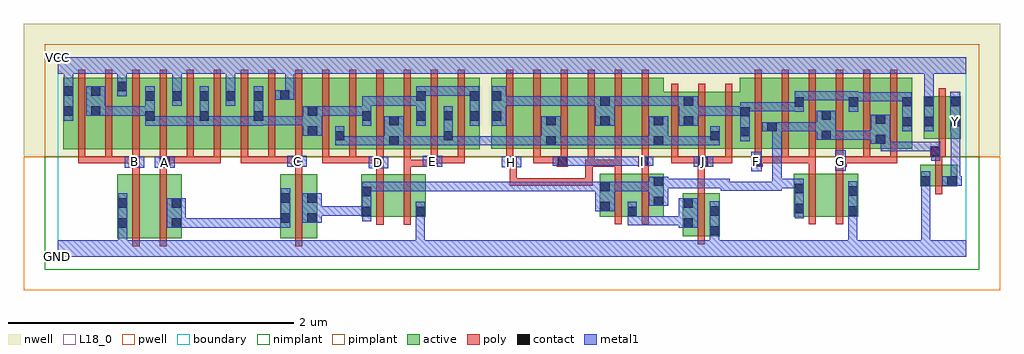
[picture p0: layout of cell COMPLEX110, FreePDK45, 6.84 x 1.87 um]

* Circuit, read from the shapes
.subckt COMPLEX110 A B C D E F G GND H I J VCC Y
M1 n1 B GND VSUBS nfet w=0.45u l=0.05u
M2 n2 A n1 VSUBS nfet w=0.45u l=0.05u
M3 n3 C n2 VSUBS nfet w=0.45u l=0.05u
M4 n4 D n3 VSUBS nfet w=0.3u l=0.05u
M5 GND E n4 VSUBS nfet w=0.3u l=0.05u
M6 n5 H n3 VSUBS nfet w=0.3u l=0.05u
M7 n3 I n5 VSUBS nfet w=0.3u l=0.05u
M8 GND J n5 VSUBS nfet w=0.3u l=0.05u
M9 n6 F n3 VSUBS nfet w=0.3u l=0.05u
M10 GND G n6 VSUBS nfet w=0.3u l=0.05u
M11 Y n3 GND VSUBS nfet w=0.15u l=0.05u
M12 n7 B VCC n8 pfet w=0.5u l=0.05u m=3
M13 VCC A n7 n8 pfet w=0.5u l=0.05u m=3
M14 n7 C VCC n8 pfet w=0.5u l=0.05u m=3
M15 n9 D n7 n8 pfet w=0.5u l=0.05u m=3
M16 n7 E n9 n8 pfet w=0.5u l=0.05u m=3
M17 n10 H n11 n8 pfet w=0.5u l=0.05u
M18 n9 I n10 n8 pfet w=0.5u l=0.05u
M19 n12 I n9 n8 pfet w=0.5u l=0.05u
M20 n11 H n12 n8 pfet w=0.5u l=0.05u
M21 n13 H n11 n8 pfet w=0.5u l=0.05u
M22 n9 I n13 n8 pfet w=0.5u l=0.05u
M23 n11 J n9 n8 pfet w=0.4u l=0.05u m=3
M24 n3 F n11 n8 pfet w=0.5u l=0.05u m=3
M25 n11 G n3 n8 pfet w=0.5u l=0.05u m=3
M26 Y n3 VCC n8 pfet w=0.3u l=0.05u
.ends

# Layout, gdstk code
import gdstk
lib = gdstk.Library(unit=1e-6, precision=1e-09)
def R(c, l, rs):  # rectangles x0, y0, x1, y1
    for r in rs: c.add(gdstk.rectangle(r[:2], r[2:], *l))
def A(c, l, x, y, w, h, nx, ny, dx, dy):  # array of equal rectangles
    R(c, l, [(x+i*dx, y+j*dy, x+i*dx+w, y+j*dy+h) for i in range(nx) for j in range(ny)])
active = (1, 0)
pwell = (2, 0)
nwell = (3, 0)
nimplant = (4, 0)
pimplant = (5, 0)
poly = (9, 0)
contact = (10, 0)
metal1 = (11, 0)
L18_0 = (18, 0)
boundary = (235, 0)

complex110 = lib.new_cell('COMPLEX110')
A(complex110, active, 0.61, 0.755, 0.075, 0.445, 6, 1, 0.38, 0)
A(complex110, active, 1.75, 0.755, 0.265, 0.5, 5, 1, 0.19, 0)
A(complex110, active, 1.94, 0.755, 0.075, 0.315, 3, 1, 0.38, 0)
A(complex110, active, 3.04, 0.757, 0.225, 0.5, 3, 1, 0.38, 0)
A(complex110, active, 4.78, 0.757, 0.075, 0.443, 3, 1, 0.38, 0)
A(complex110, active, 4.78, 0.757, 0.265, 0.5, 5, 1, 0.19, 0)
A(complex110, active, 4.97, 0.757, 0.075, 0.313, 3, 1, 0.38, 0)
R(complex110, active, [(0.42,0.13,0.645,0.58), (0.42,0.13,0.495,0.58), (0.645,0.13,0.87,0.58), (1.56,0.13,1.82,0.58), (4.382,0.145,4.642,0.445), (4.567,0.145,4.642,0.445), (0.795,0.195,0.87,0.58), (1.56,0.195,1.635,0.58), (1.745,0.195,1.82,0.58), (4.382,0.2,4.457,0.445), (2.13,0.28,2.205,0.58), (2.13,0.28,2.355,0.58), (2.355,0.28,2.58,0.58), (2.505,0.28,2.58,0.58), (3.8,0.282,3.875,0.582), (3.8,0.282,4.065,0.582), (3.99,0.282,4.25,0.582), (3.99,0.282,4.065,0.392), (5.16,0.282,5.235,0.582), (5.16,0.282,5.385,0.582), (5.385,0.282,5.61,0.582), (5.535,0.282,5.61,0.582), (4.175,0.33,4.25,0.582), (6.047,0.495,6.122,0.645), (6.047,0.495,6.307,0.645), (6.232,0.495,6.307,0.645), (0.04,0.755,0.305,1.255), (0.04,0.755,0.115,1.255), (0.23,0.755,0.49,1.255), (0.415,0.755,0.685,1.255), (0.61,0.755,0.875,1.255), (0.8,0.755,1.065,1.255), (0.99,0.755,1.25,1.255), (1.175,0.755,1.445,1.255), (1.175,0.755,1.25,1.255), (1.37,0.755,1.63,1.255), (1.555,0.755,1.825,1.255), (2.7,0.755,2.96,1.255), (2.885,0.755,2.96,1.2), (3.04,0.757,3.145,1.2), (3.265,0.757,3.495,1.257), (3.42,0.757,3.495,1.07), (3.645,0.757,3.875,1.257), (3.8,0.757,3.875,1.2), (4.025,0.757,4.25,1.257), (4.175,0.757,4.25,1.07), (4.175,0.757,4.46,1.157), (4.385,0.757,4.645,1.157), (4.385,0.757,4.46,1.155), (4.57,0.757,4.645,1.07), (4.57,0.757,4.855,1.157), (5.73,0.757,5.99,1.257), (5.915,0.757,5.99,1.2), (0.23,0.807,0.305,1.2), (0.415,0.807,0.49,1.255), (0.8,0.807,0.875,1.255), (1.555,0.807,1.63,1.255), (6.07,0.827,6.145,1.127), (6.07,0.827,6.33,1.127), (6.255,0.827,6.33,1.127)])
R(complex110, pwell, [(-0.235,-0.235,6.605,0.7)])
R(complex110, nwell, [(-0.235,0.7,6.605,1.635)])
R(complex110, nimplant, [(-0.09,-0.09,6.46,0.7)])
R(complex110, pimplant, [(-0.09,0.7,6.46,1.49)])
A(complex110, poly, 0.145, 0.655, 0.05, 0.095, 12, 1, 0.19, 0)
A(complex110, poly, 1.095, 0.655, 0.05, 0.05, 3, 1, 0.19, 0)
A(complex110, poly, 4.3, 0.657, 0.05, 0.095, 3, 1, 0.19, 0)
A(complex110, poly, 4.885, 0.657, 0.05, 0.095, 6, 1, 0.19, 0)
A(complex110, poly, 0.145, 0.7, 0.05, 0.61, 15, 1, 0.19, 0)
A(complex110, poly, 3.145, 0.702, 0.05, 0.61, 6, 1, 0.19, 0)
A(complex110, poly, 4.3, 0.702, 0.05, 0.51, 3, 1, 0.19, 0)
A(complex110, poly, 4.885, 0.702, 0.05, 0.61, 6, 1, 0.19, 0)
R(complex110, poly, [(0.525,0.075,0.575,0.635), (0.715,0.075,0.765,0.635), (1.665,0.075,1.715,0.635), (4.487,0.09,4.537,0.5), (2.235,0.225,2.285,0.635), (2.425,0.225,2.475,0.635), (3.905,0.227,3.955,0.637), (4.095,0.227,4.145,0.637), (5.265,0.227,5.315,0.637), (5.455,0.227,5.505,0.637), (6.152,0.44,6.202,0.7), (4.487,0.45,4.537,0.682), (3.17,0.5,3.22,0.55), (3.17,0.5,3.22,0.55), (3.17,0.5,3.22,0.55), (3.17,0.5,3.22,0.55), (3.17,0.5,3.22,0.55), (3.17,0.5,3.417,0.55), (3.17,0.5,3.22,0.672), (3.367,0.5,3.417,0.55), (3.367,0.5,3.417,0.55), (3.367,0.5,3.417,0.55), (3.367,0.5,3.617,0.55), (3.567,0.5,3.617,0.55), (3.567,0.5,3.75,0.55), (3.7,0.5,3.75,0.55), (3.7,0.5,3.75,0.55), (3.7,0.5,3.75,0.55), (3.7,0.5,3.75,0.55), (3.7,0.5,3.75,0.55), (3.7,0.5,3.75,0.682), (0.525,0.585,0.575,0.68), (0.715,0.585,0.765,0.68), (1.665,0.585,1.715,0.68), (2.235,0.585,2.285,0.68), (2.425,0.585,2.475,0.68), (3.905,0.587,3.955,0.682), (4.095,0.587,4.145,0.682), (5.265,0.587,5.315,0.707), (5.455,0.587,5.505,0.682), (3.145,0.622,3.22,0.697), (0.5,0.63,0.575,0.705), (0.715,0.63,0.79,0.705), (1.64,0.63,1.715,0.705), (2.21,0.63,2.285,0.705), (2.425,0.63,2.475,0.68), (2.425,0.63,2.475,0.68), (2.425,0.63,2.475,0.68), (2.425,0.63,2.64,0.68), (2.425,0.63,2.475,0.75), (2.59,0.63,2.665,0.705), (3.5,0.632,3.575,0.707), (3.7,0.632,3.765,0.682), (3.715,0.632,3.955,0.682), (3.715,0.632,3.765,0.752), (3.905,0.632,3.955,0.682), (3.905,0.632,3.955,0.682), (3.905,0.632,3.955,0.682), (3.905,0.632,3.955,0.752), (4.07,0.632,4.145,0.707), (4.487,0.632,4.562,0.707), (4.867,0.632,4.942,0.707), (5.455,0.632,5.53,0.707), (3.145,0.647,3.195,0.752), (6.152,0.65,6.202,0.752), (0.145,0.655,0.195,0.705), (0.145,0.655,0.385,0.705), (0.335,0.655,0.385,0.705), (0.335,0.655,0.385,0.705), (0.335,0.655,0.385,0.705), (0.335,0.655,0.55,0.705), (0.5,0.655,0.55,0.705), (0.5,0.655,0.55,0.705), (0.74,0.655,0.79,0.705), (0.74,0.655,0.79,0.705), (0.74,0.655,0.955,0.705), (0.905,0.655,0.955,0.705), (0.905,0.655,1.145,0.705), (1.095,0.655,1.145,0.705), (1.095,0.655,1.145,0.705), (1.285,0.655,1.525,0.705), (1.475,0.655,1.525,0.705), (1.475,0.655,1.525,0.705), (1.475,0.655,1.69,0.705), (1.64,0.655,1.69,0.705), (1.64,0.655,1.69,0.705), (1.855,0.655,1.905,0.705), (1.855,0.655,1.905,0.705), (1.855,0.655,1.905,0.705), (1.855,0.655,2.095,0.705), (2.045,0.655,2.095,0.705), (2.045,0.655,2.095,0.705), (2.045,0.655,2.095,0.705), (2.045,0.655,2.26,0.705), (2.615,0.655,2.665,0.75), (2.615,0.655,2.855,0.705), (2.805,0.655,2.855,0.75), (2.805,0.655,2.855,0.705), (2.805,0.655,2.855,0.705), (2.805,0.655,2.855,0.705), (3.335,0.657,3.385,0.752), (3.335,0.657,3.385,0.707), (3.335,0.657,3.385,0.707), (3.335,0.657,3.385,0.707), (3.335,0.657,3.55,0.707), (3.525,0.657,3.575,0.752), (4.095,0.657,4.145,0.752), (4.3,0.657,4.35,0.707), (4.3,0.657,4.35,0.707), (4.3,0.657,4.35,0.707), (4.3,0.657,4.537,0.707), (4.512,0.657,4.73,0.707), (4.68,0.657,4.73,0.707), (4.68,0.657,4.73,0.707), (4.68,0.657,4.73,0.707), (4.892,0.657,5.125,0.707), (5.075,0.657,5.125,0.707), (5.075,0.657,5.125,0.707), (5.075,0.657,5.125,0.707), (5.075,0.657,5.315,0.707), (5.265,0.657,5.315,0.707), (5.265,0.657,5.315,0.707), (5.265,0.657,5.315,0.707), (5.48,0.657,5.53,0.707), (5.48,0.657,5.53,0.707), (5.48,0.657,5.695,0.707), (5.645,0.657,5.695,0.707), (5.645,0.657,5.885,0.707), (5.835,0.657,5.885,0.707), (5.835,0.657,5.885,0.707), (5.835,0.657,5.885,0.707), (6.117,0.702,6.225,0.777), (6.175,0.727,6.225,0.822), (6.175,0.772,6.225,1.182)])
A(complex110, contact, 0.615, 0.955, 0.065, 0.065, 3, 1, 0.38, 0)
A(complex110, contact, 0.615, 1.095, 0.065, 0.065, 3, 1, 0.19, 0)
R(complex110, contact, [(4.572,0.15,4.637,0.215), (0.425,0.205,0.49,0.27), (0.8,0.205,0.865,0.27), (4.387,0.205,4.452,0.27), (1.565,0.24,1.63,0.305), (1.75,0.24,1.815,0.305), (2.135,0.285,2.2,0.35), (2.51,0.285,2.575,0.35), (3.995,0.287,4.06,0.352), (4.572,0.29,4.637,0.355), (5.54,0.29,5.605,0.355), (5.165,0.307,5.23,0.372), (3.805,0.32,3.87,0.385), (0.425,0.345,0.49,0.41), (0.8,0.345,0.865,0.41), (4.387,0.345,4.452,0.41), (4.18,0.357,4.245,0.422), (1.565,0.38,1.63,0.445), (1.75,0.38,1.815,0.445), (2.135,0.425,2.2,0.49), (5.54,0.43,5.605,0.495), (5.165,0.447,5.23,0.512), (3.805,0.46,3.87,0.525), (4.18,0.497,4.245,0.562), (6.052,0.5,6.117,0.565), (6.237,0.5,6.302,0.565), (3.15,0.627,3.215,0.692), (0.505,0.635,0.57,0.7), (0.72,0.635,0.785,0.7), (1.645,0.635,1.71,0.7), (2.215,0.635,2.28,0.7), (2.595,0.635,2.66,0.7), (3.505,0.637,3.57,0.702), (4.075,0.637,4.14,0.702), (4.492,0.637,4.557,0.702), (4.872,0.637,4.937,0.702), (5.46,0.637,5.525,0.702), (6.122,0.707,6.187,0.772), (2.325,0.782,2.39,0.847), (3.425,0.782,3.49,0.847), (4.18,0.782,4.245,0.847), (5.735,0.792,5.8,0.857), (1.945,0.817,2.01,0.882), (2.705,0.817,2.77,0.882), (4.575,0.817,4.64,0.882), (5.355,0.82,5.42,0.885), (4.785,0.845,4.85,0.91), (1.755,0.85,1.82,0.915), (4.975,0.88,5.04,0.945), (5.92,0.915,5.985,0.98), (6.075,0.917,6.14,0.982), (6.26,0.917,6.325,0.982), (3.805,0.92,3.87,0.985), (4.39,0.92,4.455,0.985), (2.325,0.922,2.39,0.987), (3.425,0.922,3.49,0.987), (4.18,0.922,4.245,0.987), (5.735,0.932,5.8,0.997), (2.135,0.955,2.2,1.02), (2.515,0.955,2.58,1.02), (2.89,0.955,2.955,1.02), (3.045,0.955,3.11,1.02), (2.705,0.957,2.77,1.022), (5.355,0.96,5.42,1.025), (4.785,0.985,4.85,1.05), (0.045,0.99,0.11,1.055), (0.235,0.99,0.3,1.055), (1.755,0.99,1.82,1.055), (5.165,1.052,5.23,1.117), (5.545,1.052,5.61,1.117), (5.92,1.055,5.985,1.12), (6.075,1.057,6.14,1.122), (6.26,1.057,6.325,1.122), (3.805,1.06,3.87,1.125), (4.39,1.06,4.455,1.125), (1.18,1.095,1.245,1.16), (1.375,1.095,1.44,1.16), (2.515,1.095,2.58,1.16), (2.89,1.095,2.955,1.16), (3.045,1.095,3.11,1.16), (1.56,1.102,1.625,1.167), (0.045,1.13,0.11,1.195), (0.235,1.13,0.3,1.195), (0.42,1.162,0.485,1.227)])
A(complex110, metal1, 0.615, 0.92, 0.065, 0.275, 3, 1, 0.38, 0)
R(complex110, metal1, [(0,0,6.37,0.115), (0.425,0.05,0.49,0.115), (0.425,0.05,0.49,0.115), (0.425,0.05,0.49,0.235), (2.51,0.05,2.575,0.115), (2.51,0.05,2.575,0.115), (2.51,0.05,2.575,0.115), (2.51,0.05,2.575,0.115), (2.51,0.05,2.575,0.315), (4.572,0.05,4.637,0.115), (4.572,0.05,4.637,0.115), (4.572,0.05,4.637,0.115), (4.572,0.05,4.637,0.115), (4.572,0.05,4.637,0.115), (4.572,0.05,4.637,0.39), (5.54,0.05,5.605,0.115), (5.54,0.05,5.605,0.115), (5.54,0.05,5.605,0.115), (5.54,0.05,5.605,0.115), (5.54,0.05,5.605,0.32), (6.052,0.05,6.117,0.115), (6.052,0.05,6.117,0.115), (6.052,0.05,6.117,0.115), (6.052,0.05,6.117,0.115), (6.052,0.05,6.117,0.53), (0.425,0.17,0.49,0.445), (0.765,0.205,0.9,0.41), (0.835,0.205,0.9,0.27), (0.835,0.205,0.9,0.27), (0.835,0.205,1.037,0.27), (0.972,0.205,1.037,0.27), (0.972,0.205,1.037,0.27), (0.972,0.205,1.037,0.27), (0.972,0.205,1.197,0.27), (1.132,0.205,1.197,0.27), (1.132,0.205,1.197,0.27), (1.132,0.205,1.197,0.27), (1.132,0.205,1.335,0.27), (1.27,0.205,1.335,0.27), (1.27,0.205,1.335,0.27), (1.27,0.205,1.335,0.27), (1.27,0.205,1.63,0.27), (1.565,0.205,1.63,0.48), (4.352,0.205,4.487,0.41), (3.995,0.22,4.21,0.285), (3.995,0.22,4.06,0.387), (4.145,0.22,4.21,0.285), (4.145,0.22,4.21,0.285), (4.145,0.22,4.21,0.285), (4.145,0.22,4.347,0.285), (4.282,0.22,4.347,0.285), (4.282,0.22,4.417,0.285), (1.715,0.24,1.85,0.445), (2.135,0.25,2.2,0.525), (2.51,0.25,2.575,0.385), (5.54,0.255,5.605,0.53), (5.165,0.272,5.23,0.547), (1.785,0.29,1.85,0.355), (1.785,0.29,1.85,0.355), (1.785,0.29,1.992,0.355), (1.927,0.29,1.992,0.355), (1.927,0.29,1.992,0.355), (1.927,0.29,1.992,0.355), (1.927,0.29,2.2,0.355), (3.77,0.32,3.905,0.525), (4.145,0.357,4.28,0.562), (2.135,0.46,2.2,0.525), (2.135,0.46,2.2,0.525), (2.135,0.46,2.437,0.525), (2.372,0.46,2.437,0.525), (2.372,0.46,2.437,0.525), (2.372,0.46,2.437,0.525), (2.372,0.46,2.58,0.525), (2.515,0.46,2.58,0.525), (2.515,0.46,2.58,0.525), (2.515,0.46,2.58,0.525), (2.515,0.46,2.77,0.525), (2.705,0.46,2.77,0.525), (2.705,0.46,2.907,0.525), (2.842,0.46,2.907,0.525), (2.842,0.46,2.907,0.525), (2.842,0.46,2.907,0.525), (2.842,0.46,3.145,0.525), (3.08,0.46,3.145,0.525), (3.08,0.46,3.145,0.525), (3.08,0.46,3.145,0.525), (3.08,0.46,3.282,0.525), (3.217,0.46,3.282,0.525), (3.217,0.46,3.282,0.525), (3.217,0.46,3.282,0.525), (3.217,0.46,3.42,0.525), (3.355,0.46,3.42,0.525), (3.355,0.46,3.42,0.525), (3.355,0.46,3.42,0.525), (3.355,0.46,3.697,0.525), (3.632,0.46,3.697,0.525), (3.632,0.46,3.742,0.525), (3.677,0.46,3.742,0.525), (3.677,0.46,3.835,0.525), (3.84,0.46,3.905,0.525), (3.84,0.46,3.905,0.525), (3.84,0.46,4.072,0.525), (4.007,0.46,4.072,0.525), (4.007,0.46,4.21,0.525), (4.145,0.46,4.21,0.525), (4.145,0.46,4.21,0.525), (4.647,0.462,4.867,0.527), (4.647,0.462,4.712,0.547), (4.802,0.462,4.867,0.527), (4.802,0.462,4.867,0.527), (4.802,0.462,4.867,0.527), (4.802,0.462,5.075,0.527), (5.01,0.462,5.075,0.547), (6.052,0.465,6.117,0.53), (6.052,0.465,6.117,0.53), (6.052,0.465,6.117,0.6), (4.215,0.482,4.347,0.547), (4.282,0.482,4.347,0.547), (4.282,0.482,4.5,0.547), (4.435,0.482,4.5,0.547), (4.435,0.482,4.5,0.547), (4.435,0.482,4.5,0.547), (4.435,0.482,4.712,0.547), (4.647,0.482,4.712,0.547), (4.647,0.482,4.712,0.547), (5.01,0.482,5.075,0.547), (5.01,0.482,5.075,0.547), (5.01,0.482,5.075,0.547), (5.01,0.482,5.075,0.547), (5.01,0.482,5.075,0.547), (5.01,0.482,5.075,0.547), (5.01,0.482,5.23,0.547), (5.01,0.482,5.075,0.945), (6.202,0.5,6.337,0.565), (6.26,0.5,6.325,0.947), (6.26,0.5,6.337,0.565), (6.272,0.5,6.337,0.565), (6.272,0.5,6.337,0.565), (6.272,0.5,6.337,0.565), (4.86,0.6,4.937,0.737), (5.452,0.602,5.525,0.747), (2.18,0.622,2.317,0.7), (0.47,0.625,0.607,0.702), (0.682,0.625,0.82,0.702), (3.112,0.627,3.25,0.705), (1.61,0.632,1.747,0.71), (2.56,0.632,2.697,0.71), (4.457,0.632,4.597,0.707), (3.47,0.637,3.605,0.702), (3.54,0.637,3.697,0.702), (3.632,0.637,3.697,0.702), (3.632,0.637,3.742,0.702), (3.677,0.637,3.742,0.702), (3.677,0.637,3.88,0.702), (3.815,0.637,3.88,0.702), (3.815,0.637,3.88,0.702), (3.815,0.637,3.88,0.702), (3.815,0.637,4.072,0.702), (4.007,0.637,4.072,0.702), (4.007,0.637,4.097,0.702), (4.032,0.637,4.175,0.702), (6.122,0.672,6.187,0.807), (5.77,0.742,6.05,0.807), (5.77,0.742,5.835,0.857), (5.985,0.742,6.05,0.807), (5.985,0.742,6.05,0.807), (5.985,0.742,6.05,0.807), (5.985,0.742,6.05,0.807), (5.985,0.742,6.05,0.807), (5.985,0.742,6.05,0.807), (5.985,0.742,6.05,0.807), (5.985,0.742,6.187,0.807), (1.945,0.782,2.01,0.847), (1.945,0.782,2.01,0.847), (1.945,0.782,2.01,0.917), (1.945,0.782,2.2,0.847), (2.135,0.782,2.2,0.847), (2.135,0.782,2.2,0.847), (2.135,0.782,2.2,0.847), (2.135,0.782,2.355,0.847), (2.29,0.782,2.425,0.987), (2.36,0.782,2.425,0.847), (2.36,0.782,2.425,0.847), (2.36,0.782,2.58,0.847), (2.515,0.782,2.58,0.847), (2.515,0.782,2.58,0.847), (2.515,0.782,2.58,0.847), (2.515,0.782,2.77,0.847), (2.705,0.782,2.77,0.847), (2.705,0.782,2.77,0.847), (2.705,0.782,2.907,0.847), (2.705,0.782,2.77,1.057), (2.842,0.782,2.907,0.847), (2.842,0.782,3.045,0.847), (2.98,0.782,3.045,0.847), (2.98,0.782,3.045,0.847), (2.98,0.782,3.045,0.847), (2.98,0.782,3.282,0.847), (3.217,0.782,3.282,0.847), (3.217,0.782,3.282,0.847), (3.217,0.782,3.282,0.847), (3.217,0.782,3.455,0.847), (3.39,0.782,3.525,0.987), (3.46,0.782,3.525,0.847), (3.46,0.782,3.525,0.847), (3.46,0.782,3.697,0.847), (3.632,0.782,3.697,0.847), (3.632,0.782,3.742,0.847), (3.677,0.782,3.742,0.847), (3.677,0.782,3.88,0.847), (3.815,0.782,3.88,0.847), (3.815,0.782,3.88,0.847), (3.815,0.782,3.88,0.847), (3.815,0.782,4.072,0.847), (4.007,0.782,4.072,0.847), (4.007,0.782,4.21,0.847), (4.145,0.782,4.21,0.847), (4.145,0.782,4.21,0.847), (4.145,0.782,4.28,0.987), (4.215,0.782,4.347,0.847), (4.282,0.782,4.347,0.847), (4.282,0.782,4.5,0.847), (4.435,0.782,4.5,0.847), (4.435,0.782,4.5,0.847), (4.435,0.782,4.5,0.847), (4.435,0.782,4.64,0.847), (4.575,0.782,4.64,0.917), (5.7,0.792,5.835,0.997), (5.77,0.792,5.835,0.857), (4.785,0.81,4.85,1.085), (5.32,0.82,5.455,1.025), (5.39,0.82,5.455,0.885), (5.39,0.82,5.455,0.885), (5.39,0.82,5.592,0.885), (5.527,0.82,5.592,0.885), (5.527,0.82,5.697,0.885), (5.632,0.82,5.697,0.885), (5.632,0.82,5.765,0.885), (1.72,0.85,1.855,1.055), (4.94,0.88,5.075,0.945), (5.01,0.88,5.075,0.945), (5.01,0.88,5.075,0.945), (5.01,0.88,5.075,0.945), (5.01,0.88,5.075,0.945), (5.01,0.88,5.247,0.945), (5.182,0.88,5.247,0.945), (5.182,0.88,5.247,0.945), (5.182,0.88,5.247,0.945), (5.182,0.88,5.385,0.945), (5.92,0.88,5.985,1.155), (6.075,0.882,6.14,1.157), (6.257,0.882,6.325,1.157), (0.615,0.92,0.68,0.985), (0.615,0.92,0.68,0.985), (0.615,0.92,0.9,0.985), (0.835,0.92,0.9,0.985), (0.835,0.92,0.9,0.985), (0.835,0.92,0.9,0.985), (0.835,0.92,1.06,0.985), (0.995,0.92,1.06,0.985), (0.995,0.92,1.06,0.985), (0.995,0.92,1.197,0.985), (1.132,0.92,1.197,0.985), (1.132,0.92,1.197,0.985), (1.132,0.92,1.197,0.985), (1.132,0.92,1.44,0.985), (2.135,0.92,2.2,1.055), (2.515,0.92,2.58,1.195), (2.89,0.92,2.955,1.195), (3.045,0.92,3.145,1.195), (3.77,0.92,3.905,1.125), (4.355,0.92,4.49,1.125), (1.375,0.922,1.44,0.987), (1.375,0.922,1.44,0.987), (1.375,0.922,1.642,0.987), (1.577,0.922,1.642,0.987), (1.577,0.922,1.642,0.987), (1.577,0.922,1.642,0.987), (1.577,0.922,1.785,0.987), (0.045,0.955,0.11,1.23), (0.2,0.99,0.335,1.195), (0.27,0.99,0.335,1.055), (0.27,0.99,0.335,1.055), (0.27,0.99,0.542,1.055), (0.477,0.99,0.542,1.055), (0.477,0.99,0.542,1.055), (0.477,0.99,0.542,1.055), (0.477,0.99,0.68,1.055), (1.79,0.99,1.855,1.055), (1.79,0.99,1.855,1.055), (1.79,0.99,1.992,1.055), (1.927,0.99,1.992,1.055), (1.927,0.99,1.992,1.055), (1.927,0.99,1.992,1.055), (1.927,0.99,2.2,1.055), (2.135,0.99,2.2,1.055), (2.135,0.99,2.2,1.125), (4.425,0.99,4.49,1.055), (4.425,0.99,4.49,1.055), (4.425,0.99,4.712,1.055), (4.647,0.99,4.712,1.055), (4.647,0.99,4.712,1.055), (4.647,0.99,4.712,1.055), (4.647,0.99,4.85,1.055), (5.165,1.017,5.23,1.162), (5.545,1.017,5.61,1.162), (4.785,1.02,4.85,1.085), (4.785,1.02,4.85,1.085), (4.785,1.02,5.092,1.085), (5.027,1.02,5.092,1.085), (5.027,1.02,5.092,1.085), (5.027,1.02,5.092,1.085), (5.027,1.02,5.23,1.085), (0.805,1.06,0.87,1.195), (1.18,1.06,1.245,1.195), (2.135,1.06,2.437,1.125), (2.372,1.06,2.437,1.125), (2.372,1.06,2.437,1.125), (2.372,1.06,2.437,1.125), (2.372,1.06,2.58,1.125), (3.08,1.06,3.145,1.125), (3.08,1.06,3.145,1.125), (3.08,1.06,3.282,1.125), (3.217,1.06,3.282,1.125), (3.217,1.06,3.282,1.125), (3.217,1.06,3.282,1.125), (3.217,1.06,3.56,1.125), (3.495,1.06,3.56,1.125), (3.495,1.06,3.56,1.125), (3.495,1.06,3.56,1.125), (3.495,1.06,3.697,1.125), (3.632,1.06,3.697,1.125), (3.632,1.06,3.742,1.125), (3.677,1.06,3.742,1.125), (3.677,1.06,3.835,1.125), (3.84,1.06,3.905,1.125), (3.84,1.06,3.905,1.125), (3.84,1.06,4.072,1.125), (4.007,1.06,4.072,1.125), (4.007,1.06,4.21,1.125), (4.145,1.06,4.21,1.125), (4.145,1.06,4.21,1.125), (4.145,1.06,4.21,1.125), (4.145,1.06,4.352,1.125), (4.287,1.06,4.352,1.125), (4.287,1.06,4.42,1.125), (5.545,1.09,5.61,1.155), (5.545,1.09,5.61,1.155), (5.545,1.09,5.847,1.155), (5.782,1.09,5.847,1.155), (5.782,1.09,5.847,1.155), (5.782,1.09,5.847,1.155), (5.782,1.09,5.985,1.155), (6.075,1.092,6.14,1.35), (5.165,1.097,5.23,1.162), (5.165,1.097,5.23,1.162), (5.165,1.097,5.455,1.162), (5.39,1.097,5.455,1.162), (5.39,1.097,5.455,1.162), (5.39,1.097,5.455,1.162), (5.39,1.097,5.61,1.162), (1.525,1.102,1.66,1.167), (1.595,1.102,1.66,1.35), (0.42,1.127,0.485,1.262), (0.805,1.13,0.87,1.35), (1.18,1.13,1.245,1.35), (2.515,1.13,2.58,1.195), (2.515,1.13,2.58,1.195), (2.515,1.13,2.717,1.195), (2.652,1.13,2.717,1.195), (2.652,1.13,2.717,1.195), (2.652,1.13,2.717,1.195), (2.652,1.13,2.955,1.195), (0.045,1.165,0.11,1.35), (0.42,1.197,0.485,1.35), (0,1.285,6.37,1.4), (6.075,1.285,6.14,1.35), (6.075,1.285,6.14,1.35)])
R(complex110, L18_0, [(0,0,6.37,0.115), (0.425,0.05,0.49,0.235), (0.425,0.05,0.49,0.115), (0.425,0.05,0.49,0.115), (2.51,0.05,2.575,0.115), (2.51,0.05,2.575,0.115), (2.51,0.05,2.575,0.115), (2.51,0.05,2.575,0.115), (2.51,0.05,2.575,0.315), (4.572,0.05,4.637,0.115), (4.572,0.05,4.637,0.115), (4.572,0.05,4.637,0.115), (4.572,0.05,4.637,0.115), (4.572,0.05,4.637,0.115), (4.572,0.05,4.637,0.39), (5.54,0.05,5.605,0.115), (5.54,0.05,5.605,0.115), (5.54,0.05,5.605,0.115), (5.54,0.05,5.605,0.115), (5.54,0.05,5.605,0.32), (6.052,0.05,6.117,0.115), (6.052,0.05,6.117,0.115), (6.052,0.05,6.117,0.115), (6.052,0.05,6.117,0.115), (6.052,0.05,6.117,0.53), (0.425,0.17,0.49,0.445), (2.51,0.25,2.575,0.385), (5.54,0.255,5.605,0.53), (6.052,0.465,6.117,0.53), (6.052,0.465,6.117,0.53), (6.052,0.465,6.117,0.6), (6.202,0.5,6.337,0.565), (6.26,0.5,6.337,0.565), (6.26,0.5,6.325,0.947), (6.272,0.5,6.337,0.565), (6.272,0.5,6.337,0.565), (6.272,0.5,6.337,0.565), (4.86,0.6,4.937,0.737), (5.452,0.602,5.525,0.747), (2.18,0.622,2.317,0.7), (0.47,0.625,0.607,0.702), (0.682,0.625,0.82,0.702), (0.717,0.627,0.782,0.692), (2.217,0.627,2.282,0.692), (3.112,0.627,3.25,0.705), (3.147,0.627,3.212,0.692), (1.61,0.632,1.747,0.71), (2.56,0.632,2.697,0.71), (4.457,0.632,4.597,0.707), (0.507,0.637,0.572,0.702), (1.647,0.637,1.712,0.702), (2.597,0.637,2.662,0.702), (3.47,0.637,3.605,0.702), (3.54,0.637,3.697,0.702), (3.632,0.637,3.697,0.702), (3.632,0.637,3.742,0.702), (3.677,0.637,3.742,0.702), (3.677,0.637,3.88,0.702), (3.815,0.637,3.88,0.702), (3.815,0.637,3.88,0.702), (3.815,0.637,3.88,0.702), (3.815,0.637,4.072,0.702), (4.007,0.637,4.072,0.702), (4.007,0.637,4.097,0.702), (4.032,0.637,4.175,0.702), (4.067,0.637,4.132,0.702), (4.497,0.637,4.562,0.702), (4.867,0.637,4.932,0.702), (5.457,0.637,5.522,0.702), (6.075,0.882,6.14,1.157), (6.257,0.882,6.325,1.157), (6.257,0.917,6.322,0.982), (0.045,0.955,0.11,1.23), (0.805,1.06,0.87,1.195), (1.18,1.06,1.245,1.195), (6.075,1.092,6.14,1.35), (1.525,1.102,1.66,1.167), (1.595,1.102,1.66,1.35), (0.42,1.127,0.485,1.262), (0.805,1.13,0.87,1.35), (1.18,1.13,1.245,1.35), (0.045,1.165,0.11,1.35), (0.42,1.197,0.485,1.35), (0,1.285,6.37,1.4), (6.075,1.285,6.14,1.35), (6.075,1.285,6.14,1.35)])
R(complex110, boundary, [(0,0,6.37,1.4)])
complex110.add(gdstk.Label('A', (0.75,0.66), layer=11, texttype=0))
complex110.add(gdstk.Label('B', (0.54,0.67), layer=11, texttype=0))
complex110.add(gdstk.Label('C', (1.68,0.67), layer=11, texttype=0))
complex110.add(gdstk.Label('D', (2.25,0.66), layer=11, texttype=0))
complex110.add(gdstk.Label('E', (2.63,0.67), layer=11, texttype=0))
complex110.add(gdstk.Label('F', (4.9,0.67), layer=11, texttype=0))
complex110.add(gdstk.Label('G', (5.49,0.67), layer=11, texttype=0))
complex110.add(gdstk.Label('H', (3.18,0.66), layer=11, texttype=0))
complex110.add(gdstk.Label('I', (4.1,0.67), layer=11, texttype=0))
complex110.add(gdstk.Label('J', (4.53,0.67), layer=11, texttype=0))
complex110.add(gdstk.Label('Y', (6.29,0.95), layer=11, texttype=0))
complex110.add(gdstk.Label('VCC', (0,1.4), layer=11, texttype=0))
complex110.add(gdstk.Label('GND', (0,0), layer=11, texttype=0))

lib.write_gds('COMPLEX110.gds')
